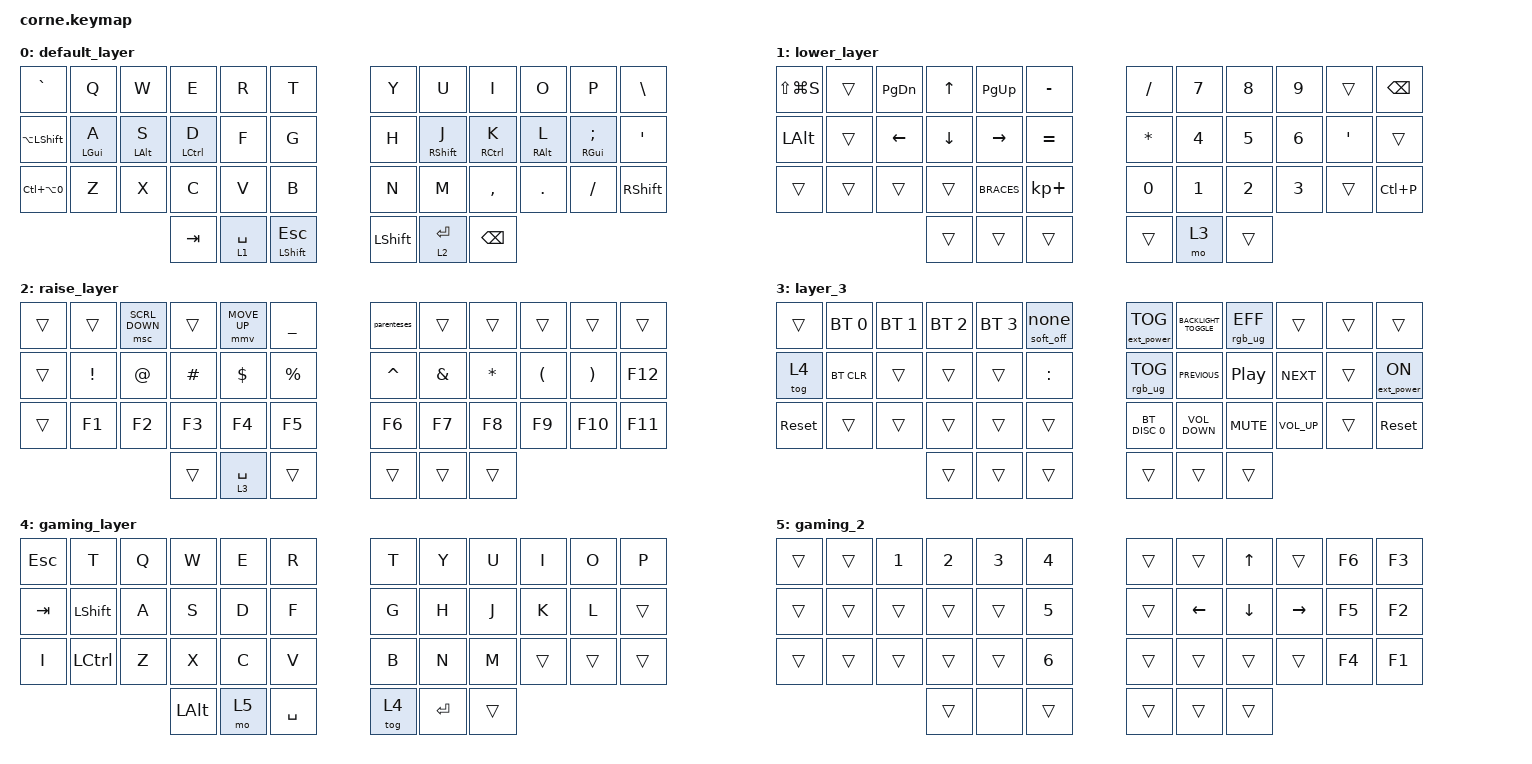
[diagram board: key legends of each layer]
/*
 * Copyright (c) 2020 The ZMK Contributors
 *
 * SPDX-License-Identifier: MIT
 */

#include <behaviors.dtsi>
#include <dt-bindings/zmk/bt.h>
#include <dt-bindings/zmk/ext_power.h>
#include <dt-bindings/zmk/keys.h>
#include <dt-bindings/zmk/pointing.h>
#include <dt-bindings/zmk/rgb.h>

/ {
    behaviors {
        off_hold: soft_off_hold {
            compatible = "zmk,behavior-hold-tap";
            #binding-cells = <2>;
            tapping-term-ms = <3000>;
            flavor = "tap-preferred";
            bindings = <&soft_off>, <&none>;
        };

        hm: homerow_mods {
            compatible = "zmk,behavior-hold-tap";
            label = "HOMEROW_MODS";
            #binding-cells = <2>;
            tapping-term-ms = <150>;
            flavor = "tap-preferred";
            bindings = <&kp>, <&kp>;

            quick-tap-ms = <200>;
        };

        ltq: ltq {
            compatible = "zmk,behavior-hold-tap";
            label = "LTQ";
            bindings = <&mo>, <&kp>;

            #binding-cells = <2>;
            tapping-term-ms = <150>;
            quick-tap-ms = <200>;
            flavor = "balanced";
        };
    };

    combos {
        compatible = "zmk,combos";

        left_bkt {
            bindings = <&kp LEFT_BRACKET>;
            key-positions = <4 3>;
            timeout-ms = <50>;
        };

        right_bkt {
            bindings = <&kp RBKT>;
            key-positions = <7 8>;
            timeout-ms = <50>;
        };

        left_par {
            bindings = <&kp LEFT_PARENTHESIS>;
            key-positions = <15 16>;
            timeout-ms = <50>;
        };

        right_par {
            bindings = <&kp RIGHT_PARENTHESIS>;
            key-positions = <19 20>;
            timeout-ms = <50>;
        };

        left_brace {
            bindings = <&kp LEFT_BRACE>;
            key-positions = <27 28>;
            timeout-ms = <50>;
        };

        right_brace {
            bindings = <&kp RIGHT_BRACE>;
            key-positions = <32 31>;
            timeout-ms = <50>;
        };

        bac {
            bindings = <&kp BACKSLASH>;
            key-positions = <5 6>;
            timeout-ms = <20>;
        };

        double_dot {
            bindings = <&kp COLON>;
            key-positions = <17 18>;
            timeout-ms = <50>;
        };

        equal {
            bindings = <&kp EQUAL>;
            key-positions = <29 30>;
            timeout-ms = <50>;
        };

        ru_sign {
            bindings = <&kp LEFT_BRACKET>;
            key-positions = <41 36>;
        };
    };

    macros {
        screenshoot: screenshoot {
            compatible = "zmk,behavior-macro";
            #binding-cells = <0>;
            bindings =
                <&macro_press>,
                <&kp LGUI &kp LSHIFT>,
                <&macro_tap>,
                <&kp S>,
                <&macro_release>,
                <&kp LSHIFT &kp LGUI>;

            label = "SCREENSHOOT";
        };

        BRACES: BRACES {
            compatible = "zmk,behavior-macro";
            #binding-cells = <0>;
            bindings = <&kp LEFT_BRACKET &kp RIGHT_BRACKET>;
            label = "BRACES";
        };

        parenteses: parenteses {
            compatible = "zmk,behavior-macro";
            #binding-cells = <0>;
            bindings = <&kp LEFT_PARENTHESIS &kp RIGHT_PARENTHESIS>;
            label = "PARENTESES";
        };

        language_switch: language_switch {
            compatible = "zmk,behavior-macro";
            #binding-cells = <0>;
            bindings = <&kp LEFT_ALT>, <&macro_wait_time 20>, <&kp LEFT_SHIFT>;

            label = "LANGUAGE_SWITCH";
            wait-ms = <50>;
        };
    };

    keymap {
        compatible = "zmk,keymap";

        default_layer {
            bindings = <
&kp GRAVE           &kp Q           &kp W           &kp E        &kp R         &kp T               &kp Y           &kp U         &kp I          &kp O            &kp P               &kp BACKSLASH
&kp LA(LEFT_SHIFT)  &hm LEFT_GUI A  &hm LEFT_ALT S  &hm LCTRL D  &kp F         &kp G               &kp H           &hm RSHIFT J  &hm RCTRL K    &hm RIGHT_ALT L  &hm RGUI SEMICOLON  &kp SQT
&kp LC(LA(N0))      &kp Z           &kp X           &kp C        &kp V         &kp B               &kp N           &kp M         &kp COMMA      &kp DOT          &kp FSLH            &kp RIGHT_SHIFT
                                                    &kp TAB      &ltq 1 SPACE  &hm LEFT_SHIFT ESC  &kp LEFT_SHIFT  &ltq 2 ENTER  &kp BACKSPACE
            >;
        };

        lower_layer {
            bindings = <
&kp LS(LG(S))  &trans  &kp PAGE_DOWN  &kp UP    &kp PAGE_UP  &kp MINUS    &kp SLASH     &kp N7  &kp N8  &kp N9  &trans   &kp BSPC
&kp LEFT_ALT   &trans  &kp LEFT       &kp DOWN  &kp RIGHT    &kp EQUAL    &kp ASTERISK  &kp N4  &kp N5  &kp N6  &kp SQT  &trans
&trans         &trans  &trans         &trans    &BRACES      &kp KP_PLUS  &kp N0        &kp N1  &kp N2  &kp N3  &trans   &kp LC(P)
                                      &trans    &trans       &trans       &trans        &mo 3   &trans
            >;
        };

        raise_layer {
            bindings = <
&trans  &trans           &msc SCRL_DOWN  &trans    &mmv MOVE_UP  &kp UNDERSCORE  &parenteses  &trans         &trans        &trans                &trans                 &trans
&trans  &kp EXCLAMATION  &kp AT_SIGN     &kp HASH  &kp DOLLAR    &kp PERCENT     &kp CARET    &kp AMPERSAND  &kp ASTERISK  &kp LEFT_PARENTHESIS  &kp RIGHT_PARENTHESIS  &kp F12
&trans  &kp F1           &kp F2          &kp F3    &kp F4        &kp F5          &kp F6       &kp F7         &kp F8        &kp F9                &kp F10                &kp F11
                                         &trans    &lt 3 SPACE   &trans          &trans       &trans         &trans
            >;
        };

        // Keep shutdown on the central half, away from either soft-off wakeup key.

        layer_3 {
            bindings = <
&trans      &bt BT_SEL 0  &bt BT_SEL 1  &bt BT_SEL 2  &bt BT_SEL 3  &off_hold 0 0  &ext_power EP_TOG  &kp C_BACKLIGHT_TOGGLE  &rgb_ug RGB_EFF   &trans           &trans  &trans
&tog 4      &bt BT_CLR    &trans        &trans        &trans        &kp COLON      &rgb_ug RGB_TOG    &kp C_PREVIOUS          &kp C_PLAY_PAUSE  &kp C_NEXT       &trans  &ext_power EP_ON
&sys_reset  &trans        &trans        &trans        &trans        &trans         &bt BT_DISC 0      &kp C_VOLUME_DOWN       &kp C_MUTE        &kp C_VOLUME_UP  &trans  &sys_reset
                                        &trans        &trans        &trans         &trans             &trans                  &trans
            >;
        };

        gaming_layer {
            bindings = <
&kp ESC  &kp T      &kp Q  &kp W         &kp E  &kp R      &kp T   &kp Y      &kp U   &kp I   &kp O   &kp P
&kp TAB  &kp LSHFT  &kp A  &kp S         &kp D  &kp F      &kp G   &kp H      &kp J   &kp K   &kp L   &trans
&kp I    &kp LCTRL  &kp Z  &kp X         &kp C  &kp V      &kp B   &kp N      &kp M   &trans  &trans  &trans
                           &kp LEFT_ALT  &mo 5  &kp SPACE  &tog 4  &kp ENTER  &trans
            >;
        };

        gaming_2 {
            bindings = <
&trans  &trans  &kp NUMBER_1  &kp NUMBER_2  &kp NUMBER_3  &kp NUMBER_4  &trans  &trans    &kp UP_ARROW  &trans     &kp F6  &kp F3
&trans  &trans  &trans        &trans        &trans        &kp N5        &trans  &kp LEFT  &kp DOWN      &kp RIGHT  &kp F5  &kp F2
&trans  &trans  &trans        &trans        &trans        &kp NUMBER_6  &trans  &trans    &trans        &trans     &kp F4  &kp F1
                              &trans        &none         &trans        &trans  &trans    &trans
            >;
        };

        extra2 { status = "reserved"; };

        extra3 { status = "reserved"; };

        layer_9 { status = "reserved"; };
    };
};
